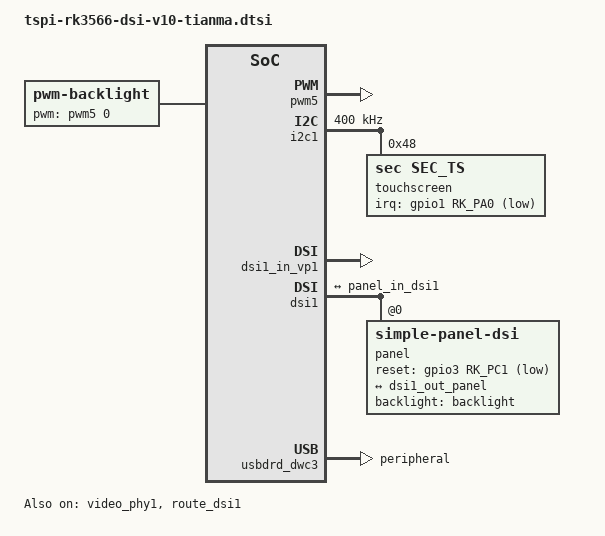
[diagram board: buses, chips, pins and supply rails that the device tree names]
// SPDX-License-Identifier: GPL-2.0
/*
 * 立创泰山派 (LCKFB TaishanPi RK3566) + 天马 TL060FVXS07/TL060FVXS08
 * 6.0" 1080x2160 MIPI-DSI 屏幕 (Samsung S6D6FT0 驱动 IC + incell 触摸)
 *
 * 用法：整段替换 SDK 中的
 *   kernel/arch/arm64/boot/dts/rockchip/tspi-rk3566-dsi-v10.dtsi
 * 该文件由 tspi-rk3566-user-v10-linux.dts 通过 #include 引入。
 *
 * 硬件连接（mipi-hub 泰山派转接板）：
 *   31pin 0.3mm FPC : MIPI DSI1 4 lane + 背光 + 复位
 *    6pin 0.5mm FPC : I2C1 触摸 + 背光供电
 *   注意：两条 FPC 均为反向排线（金手指朝下）
 *
 * 相对上游 mipi-hub 版本的修改：
 *   1. 修正 brightness-levels 中的非法 token（"tai"），否则 dtc 会报错；
 *   2. 亮度表改为 0..100，便于 sysfs 直接按百分比调节；
 *   3. 触摸与 DSI 节点补充了必要的 status / 时序注释；
 *   4. 显式把 dwc3 设置为 peripheral（本方案中 Type-C 只做设备口）。
 */

/ {
	backlight: backlight {
		compatible = "pwm-backlight";
		pwms = <&pwm5 0 25000 0>;	/* 40 kHz */
		brightness-levels = <
			0   1   2   3   4   5   6   7   8   9
			10  11  12  13  14  15  16  17  18  19
			20  21  22  23  24  25  26  27  28  29
			30  31  32  33  34  35  36  37  38  39
			40  41  42  43  44  45  46  47  48  49
			50  51  52  53  54  55  56  57  58  59
			60  61  62  63  64  65  66  67  68  69
			70  71  72  73  74  75  76  77  78  79
			80  81  82  83  84  85  86  87  88  89
			90  91  92  93  94  95  96  97  98  99
			100
		>;
		default-brightness-level = <60>;
		status = "okay";
	};
};

&pwm5 {
	status = "okay";
};

/* ---------------- 引脚复用 ---------------- */

&pinctrl {
	dsi-panel {
		panel_rst_pin: panel-rst-pin {
			rockchip,pins = <3 RK_PC1 RK_FUNC_GPIO &pcfg_pull_none>;
		};
	};

	touchscreen {
		ts_irq_pin: ts-irq-pin {
			rockchip,pins = <1 RK_PA0 RK_FUNC_GPIO &pcfg_pull_up>;
		};
	};
};

/* ---------------- 触摸 (Samsung sec_ts, I2C1) ---------------- */

&i2c1 {
	status = "okay";
	clock-frequency = <400000>;

	touchscreen@48 {
		compatible = "sec,sec_ts";
		reg = <0x48>;
		status = "okay";

		pinctrl-names = "default";
		pinctrl-0 = <&ts_irq_pin>;

		sec,irq_gpio = <&gpio1 RK_PA0 GPIO_ACTIVE_LOW>;
		sec,max_coords = <1080>, <2160>;

		/* 触摸驱动为树外模块，见 docs/03-kernel.md */
	};
};

/* ---------------- 显示通路 ---------------- */

&dsi1_in_vp0 {
	status = "disabled";
};

&dsi1_in_vp1 {
	status = "okay";
};

&video_phy1 {
	status = "okay";
};

&route_dsi1 {
	status = "okay";
	connect = <&vp1_out_dsi1>;
};

&dsi1 {
	status = "okay";

	panel@0 {
		compatible = "simple-panel-dsi";
		reg = <0>;
		status = "okay";

		backlight = <&backlight>;
		reset-gpios = <&gpio3 RK_PC1 GPIO_ACTIVE_LOW>;

		pinctrl-names = "default";
		pinctrl-0 = <&panel_rst_pin>;

		prepare-delay-ms = <40>;
		reset-delay-ms = <60>;
		init-delay-ms = <80>;
		enable-delay-ms = <60>;
		disable-delay-ms = <20>;
		unprepare-delay-ms = <20>;

		/* 6.0 inch, 显示区 68.0 x 136.0 mm */
		width-mm = <68>;
		height-mm = <136>;

		dsi,lanes = <4>;
		dsi,format = <MIPI_DSI_FMT_RGB888>;
		dsi,flags = <(MIPI_DSI_MODE_VIDEO | MIPI_DSI_MODE_VIDEO_BURST |
			      MIPI_DSI_MODE_LPM | MIPI_DSI_MODE_EOT_PACKET |
			      MIPI_DSI_CLOCK_NON_CONTINUOUS)>;

		/* 屏幕控制器上电后自带默认配置，只需要 sleep out + display on */
		panel-init-sequence = [
			05 78 01 11
			05 0a 01 29
		];

		panel-exit-sequence = [
			05 10 01 28
			05 78 01 10
		];

		display-timings {
			native-mode = <&dsi1_timing0>;

			dsi1_timing0: timing0 {
				clock-frequency = <157000000>;
				hactive = <1080>;
				hfront-porch = <115>;
				hback-porch = <13>;
				hsync-len = <3>;

				vactive = <2160>;
				vfront-porch = <10>;
				vback-porch = <10>;
				vsync-len = <2>;

				hsync-active = <0>;
				vsync-active = <0>;
				de-active = <0>;
				pixelclk-active = <0>;
			};
		};

		ports {
			#address-cells = <1>;
			#size-cells = <0>;

			port@0 {
				reg = <0>;

				panel_in_dsi1: endpoint {
					remote-endpoint = <&dsi1_out_panel>;
				};
			};
		};
	};

	ports {
		#address-cells = <1>;
		#size-cells = <0>;

		port@1 {
			reg = <1>;

			dsi1_out_panel: endpoint {
				remote-endpoint = <&panel_in_dsi1>;
			};
		};
	};
};

/*
 * Type-C 口固定为设备模式。
 * 默认 DTS 是 dr_mode = "otg"，部分线材/主机组合下会停留在 host 角色，
 * 导致 gadget 无法枚举。作为副屏使用时只做 device，正好。
 * 如果还需要该口做 USB host，请注释掉这一段，并在插线后手动确认角色。
 */
&usbdrd_dwc3 {
	dr_mode = "peripheral";
	status = "okay";
};
